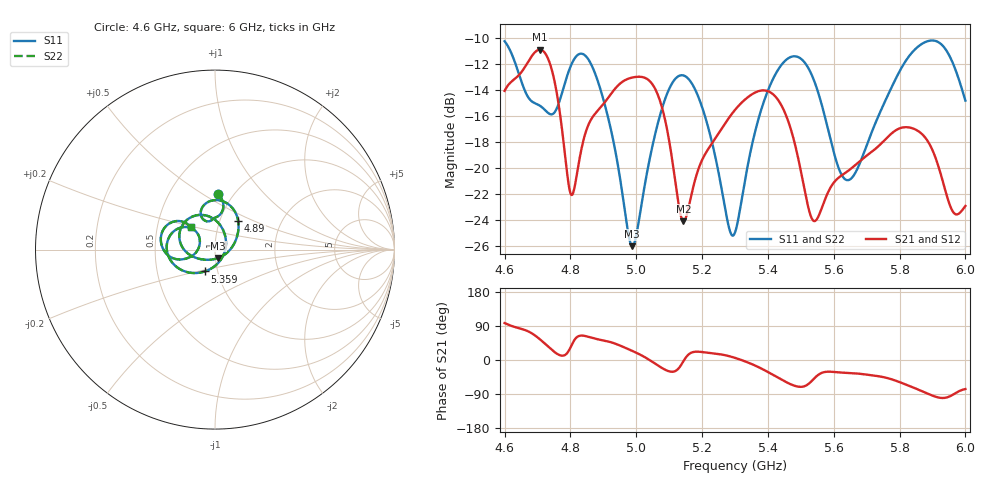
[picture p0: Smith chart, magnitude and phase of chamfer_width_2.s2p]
! TOUCHSTONE file generated by CST MICROWAVE STUDIO
! Date and time: Sun Dec  1 17:26:32 2024
! Project name: test_tuning.cst
! Parameters = {airCoaxOuterDiameter=3; chamferAngle=45; chamferWidth=4; connectorLength=10; drillingHoleDiameter=4.1; feedLength=60; flareDiameter=130; flareLength=70; gratingDistance=0; gratingGap=1.90274; outletLength=30; polarizerLength=134; probe1Diameter=1.3; probe1Distance=14; probe1Length=12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
! Header version: 2024
! Port assignment regex: !\s*Touchstone port\s*([0-9]+)\s*=\s*(CST MWS port|CST DES external port|CST DES block port)\s*(.+)\s* \(\"(.*)\"\)(\s*mode\s*([0-9]+))?.*
! Touchstone port assignment:
! Touchstone port 1 = CST MWS port 1 ("Input1")
! Touchstone port 2 = CST MWS port 2 ("Input2")
# GHz S MA R 50
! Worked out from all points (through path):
!   1001 points, 4.6 GHz to 6 GHz, reference 50 ohm
!   highest |S21| = -10.87 dB at 4.708 GHz (marker M1); lowest = -24.1 dB at 5.143 GHz (marker M2)
!   lowest |S11| = -26.0 dB at 4.988 GHz (marker M3), VSWR 1.11, Z = 51.6 - j4.83 ohm
!   |S11| at or under -10 dB: start of sweep to end of sweep
!   |S22| runs from -26.0 to -10.2 dB; largest |S21 - S12| = 1.1e-06
!   S11 on the Smith chart (normalised r, x): 4.6 GHz: 0.85, +0.58; 4.89 GHz: 1.23, +0.40; 5.359 GHz: 0.87, -0.22; 6 GHz: 0.74, +0.19
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4.6  0.3083 87.1  0.1985 97.4  0.1985 97.4  0.3083 87.1
4.7078  0.1738 92.7  0.2861 54.2  0.2861 54.2  0.1738 92.7
4.7512  0.1637 105.7  0.2176 21.3  0.2176 21.3  0.1637 105.7
4.8002  0.2462 106.6  0.07993 33.3  0.07993 33.3  0.2462 106.6
4.8338  0.2761 86.9  0.1191 64.5  0.1191 64.5  0.2761 86.9
4.8898  0.2038 50.5  0.1703 53.5  0.1703 53.5  0.2038 50.5
4.9878  0.05003 -68.8  0.2234 24.1  0.2234 24.1  0.05003 -68.8
5.0676  0.1522 -171.7  0.1887 -15.4  0.1887 -15.4  0.1522 -171.7
5.1432  0.2276 133.5  0.06245 -3.3  0.06245 -3.3  0.2276 133.5
5.202  0.1688 91.3  0.1088 20.8  0.1088 20.8  0.1688 91.3
5.2818  0.05895 6.5  0.1563 10.2  0.1563 10.2  0.05895 6.5
5.3  0.05649 -36.5  0.1677 5.6  0.1677 5.6  0.05649 -36.5
5.3588  0.1346 -115.1  0.1949 -13.8  0.1949 -13.8  0.1346 -115.1
5.4484  0.2563 -167.6  0.1672 -55.1  0.1672 -55.1  0.2563 -167.6
5.5338  0.2277 147.5  0.06379 -54.8  0.06379 -54.8  0.2277 147.5
5.6108  0.1035 145.4  0.09095 -32.3  0.09095 -32.3  0.1035 145.4
5.6402  0.08991 164.4  0.09687 -34.0  0.09687 -34.0  0.08991 164.4
5.7676  0.1948 -163.7  0.1332 -48.8  0.1332 -48.8  0.1948 -163.7
5.8404  0.2812 -178.0  0.1422 -72.2  0.1422 -72.2  0.2812 -178.0
5.902  0.3103 162.2  0.1157 -94.6  0.1157 -94.6  0.3103 162.2
5.9608  0.2558 141.5  0.06836 -92.1  0.06836 -92.1  0.2558 141.5
6  0.1821 137.4  0.07148 -76.7  0.07148 -76.7  0.1821 137.4
